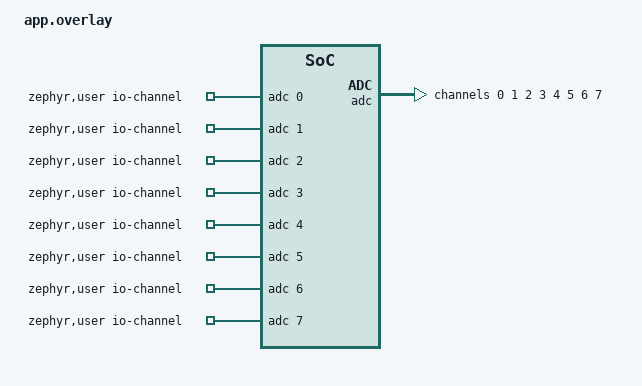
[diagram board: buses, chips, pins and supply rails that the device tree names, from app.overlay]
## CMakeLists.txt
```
cmake_minimum_required(VERSION 3.20.0)
find_package(Zephyr REQUIRED HINTS $ENV{ZEPHYR_BASE})

project(victor_pulse_HR)

target_sources(app PRIVATE src/main.c)
```

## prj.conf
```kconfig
CONFIG_ADC=y

# allow printing floats to serial terminal
CONFIG_NEWLIB_LIBC=y
CONFIG_NEWLIB_LIBC_FLOAT_PRINTF=y
CONFIG_NEWLIB_LIBC_FLOAT_SCANF=y
```

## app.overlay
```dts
/ {
	zephyr,user {
		// List all channels for io-channels
		io-channels = <&adc 0>, <&adc 1>, <&adc 2>, <&adc 3>,
		              <&adc 4>, <&adc 5>, <&adc 6>, <&adc 7>;
	};
};

&adc {
	#address-cells = <1>;
	#size-cells = <0>;
	status = "okay";

	// Define ADC channels
	channel@0 {
		reg = <0>;
		zephyr,gain = "ADC_GAIN_1_6";
		zephyr,reference = "ADC_REF_INTERNAL";
		zephyr,acquisition-time = <ADC_ACQ_TIME_DEFAULT>;
		zephyr,input-positive = <NRF_SAADC_AIN0>; /* P0.02 */
		zephyr,resolution = <12>;
	};

	channel@1 {
		reg = <1>;
		zephyr,gain = "ADC_GAIN_1_6";
		zephyr,reference = "ADC_REF_INTERNAL";
		zephyr,acquisition-time = <ADC_ACQ_TIME_DEFAULT>;
		zephyr,input-positive = <NRF_SAADC_AIN1>; /* P0.03 */
		zephyr,resolution = <12>;
	};

	channel@2 {
		reg = <2>;
		zephyr,gain = "ADC_GAIN_1_6";
		zephyr,reference = "ADC_REF_INTERNAL";
		zephyr,acquisition-time = <ADC_ACQ_TIME_DEFAULT>;
		zephyr,input-positive = <NRF_SAADC_AIN2>; /* P0.04 */
		zephyr,resolution = <12>;
	};

	channel@3 {
		reg = <3>;
		zephyr,gain = "ADC_GAIN_1_6";
		zephyr,reference = "ADC_REF_INTERNAL";
		zephyr,acquisition-time = <ADC_ACQ_TIME_DEFAULT>;
		zephyr,input-positive = <NRF_SAADC_AIN3>; /* P0.05 */
		zephyr,resolution = <12>;
	};

	channel@4 {
		reg = <4>;
		zephyr,gain = "ADC_GAIN_1_6";
		zephyr,reference = "ADC_REF_INTERNAL";
		zephyr,acquisition-time = <ADC_ACQ_TIME_DEFAULT>;
		zephyr,input-positive = <NRF_SAADC_AIN4>; /* P0.28 */
		zephyr,resolution = <12>;
	};

	channel@5 {
		reg = <5>;
		zephyr,gain = "ADC_GAIN_1_6";
		zephyr,reference = "ADC_REF_INTERNAL";
		zephyr,acquisition-time = <ADC_ACQ_TIME_DEFAULT>;
		zephyr,input-positive = <NRF_SAADC_AIN5>; /* P0.29 */
		zephyr,resolution = <12>;
	};

	channel@6 {
		reg = <6>;
		zephyr,gain = "ADC_GAIN_1_6";
		zephyr,reference = "ADC_REF_INTERNAL";
		zephyr,acquisition-time = <ADC_ACQ_TIME_DEFAULT>;
		zephyr,input-positive = <NRF_SAADC_AIN6>; /* P0.30 */
		zephyr,resolution = <12>;
	};

	channel@7 {
		reg = <7>;
		zephyr,gain = "ADC_GAIN_1_6";
		zephyr,reference = "ADC_REF_INTERNAL";
		zephyr,acquisition-time = <ADC_ACQ_TIME_DEFAULT>;
		zephyr,input-positive = <NRF_SAADC_AIN7>; /* P0.31 */
		zephyr,resolution = <12>;
	};
};
```

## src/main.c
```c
/* Notes by Allan 2/1/2025:

This code reads an analog signal from an ADC channel (Connect to Pin P0.02 of nrf52840dk) 
and applies a derivative filter to the signal to detect edges. The code calculates 
the BPM (beats per minute) based on the time intervals between peaks.

Git pushed on 2/1/2025
*/ 


#include <zephyr/kernel.h>
#include <zephyr/device.h>
#include <zephyr/devicetree.h>
#include <zephyr/drivers/adc.h>
#include <stdio.h>
#include <zephyr/sys/printk.h> // For printk

#define ADC_REF_VOLTAGE_MV 600   // Internal reference in mV
#define ADC_GAIN (1.0 / 6.0)     // Gain of 1/6
#define ADC_RESOLUTION 4096      // 12-bit resolution
#define THRESHOLD 2600           // Adjustable threshold for pulse detection

// Define ADC channel
static const struct adc_dt_spec adc_channel = ADC_DT_SPEC_GET(DT_PATH(zephyr_user));

static int16_t buf;
static struct adc_sequence sequence = {
    .buffer = &buf,
    .buffer_size = sizeof(buf),
};


// Convert raw ADC value to millivolts
int32_t convert_to_mv(int16_t raw_value) {
    return (int32_t)((raw_value * ADC_REF_VOLTAGE_MV * (1.0 / ADC_GAIN)) / ADC_RESOLUTION);
}


// -----------------Filtering ------------------
#include <math.h>  // Include for exponential calculations if needed

// Derivative filter
int32_t derivative_filter(int32_t new_sample, int32_t prev_sample) {
    return new_sample - prev_sample;
}
// -----------------Filtering ------------------



// ------- Heart Rate Calculation ------------------------------
#define BEAT_THRESHOLD 100   // Minimum change to detect a breath
#define MAX_PEAKS 15            // Circular buffer for peak timestamps
#define MIN_PEAK_INTERVAL_MS 600 // Minimum interval between peaks for valid BPM calculation (at least 60 BPM)

// Detect peaks
bool detect_peak(int32_t current_value, int32_t prev_value, bool *rising) {
    if (*rising && current_value < prev_value) {
        *rising = false;
        return true; // Peak detected
    } else if (!*rising && current_value > prev_value + BEAT_THRESHOLD) {
        *rising = true;
        // printf("Rising True\n"); // for debugging
    }
    return false;
}

// Circular buffer to store timestamps of peaks
uint32_t peak_timestamps[MAX_PEAKS];
int peak_index = 0;

void add_peak_timestamp(uint32_t timestamp) {
    peak_timestamps[peak_index] = timestamp;
    peak_index = (peak_index + 1) % MAX_PEAKS;
}

float calculate_BPM(void) {
    int valid_peaks = 0; // Number of valid peaks
    if (peak_index < MAX_PEAKS) {
        valid_peaks = peak_index;
    } else {
        valid_peaks = MAX_PEAKS;
    }

    if (valid_peaks < 2) {
        return 0.0; // Not enough peaks to calculate rate
    }

    // Calculate time intervals between consecutive peaks
    int interval_count = valid_peaks - 1;
    uint32_t intervals[interval_count];
    for (int i = 0; i < interval_count; i++) {
        int current = (peak_index - i - 1 + MAX_PEAKS) % MAX_PEAKS;
        int previous = (current - 1 + MAX_PEAKS) % MAX_PEAKS;
        intervals[i] = peak_timestamps[current] - peak_timestamps[previous];
    }

    // Compute the average interval
    uint32_t sum_intervals = 0;
    for (int i = 0; i < interval_count; i++) {
        sum_intervals += intervals[i];
    }
    float avg_period = (float)sum_intervals / interval_count;

    // Convert average period to beats per minute
    return 60000.0 / avg_period; // 60000 ms per minute
}
// ------- Heart Rate Calculation ------------------------------


void main(void) {
    // Verify ADC channel is ready
    if (!adc_is_ready_dt(&adc_channel)) {
        printk("ADC controller device %s not ready\n", adc_channel.dev->name);
        return;
    }

    // Configure ADC channel
    int err = adc_channel_setup_dt(&adc_channel);
    if (err < 0) {
        printk("Could not setup ADC channel (%d)\n", err);
        return;
    }

    // Initialize ADC sequence
    err = adc_sequence_init_dt(&adc_channel, &sequence);
    if (err < 0) {
        printk("Could not initialize ADC sequence (%d)\n", err);
        return;
    }

    // Filter Variables
    int32_t prev_sample = 0; // Derivative filter variable

    // Heart Rate Variables
    bool rising = false;
    uint32_t last_peak_time = 0; // Timestamp of the last valid peak
    int32_t previous_val = 0;

    // Continuously read ADC values
    while (1) {
        err = adc_read(adc_channel.dev, &sequence);
        if (err < 0) {
            printk("ADC read failed (%d)\n", err);

        } else {

            int32_t val_mv = convert_to_mv(buf); // Convert raw ADC value to millivolts
            // printk("Raw ADC value: %d, ADC value: %d mV\n", buf, val_mv);
            printk(">v:%d\n", val_mv);

            // Filtering code
            int32_t edge_enhanced = derivative_filter(val_mv, prev_sample);
            prev_sample = val_mv;
            printf(">e:%d\n", edge_enhanced); // Edge enhanced signal
        
            // BPM calculation
            if (detect_peak(val_mv, previous_val, &rising)) {
                uint32_t current_time = k_uptime_get(); // Get current uptime in milliseconds

                // Check if enough time has passed since the last peak
                if (current_time - last_peak_time >= MIN_PEAK_INTERVAL_MS) {
                    last_peak_time = current_time; // Update the last peak time
                    add_peak_timestamp(current_time); // Add the peak timestamp

                    // Calculate and display the BPM
                    float bpm = calculate_BPM();
                    if (bpm > 0) {
                        printf(">b:%.2f\n", bpm); // beats per minute  
                    } 
                }
            }
            previous_val = val_mv;
        }

        k_sleep(K_MSEC(100)); // sleep for 100ms, 10Hz
    }
    return;
}
```
